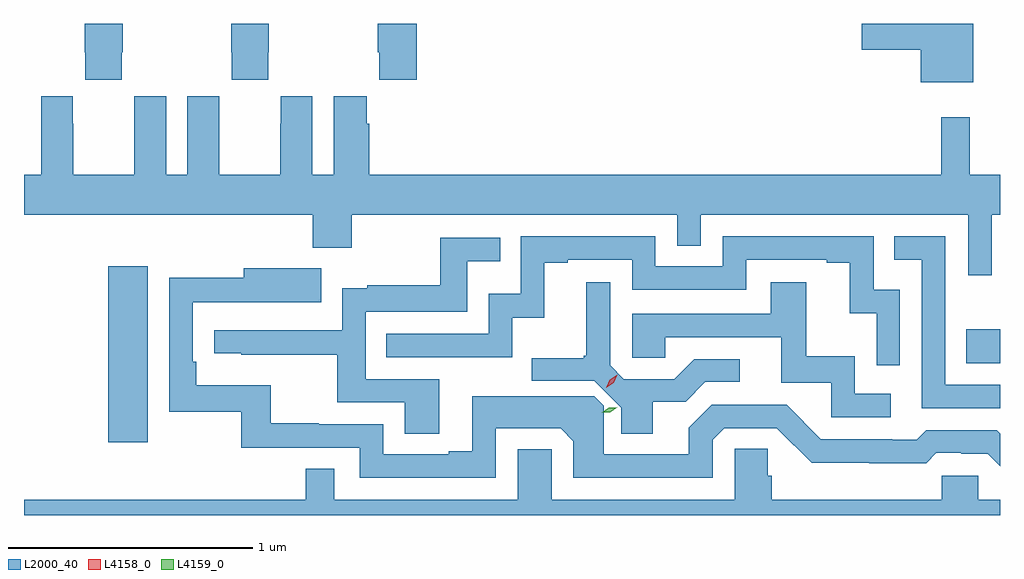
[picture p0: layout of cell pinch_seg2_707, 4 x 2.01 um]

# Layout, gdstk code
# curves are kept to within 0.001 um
import gdstk
lib = gdstk.Library(unit=1e-6, precision=1e-09)
def R(c, l, rs):  # rectangles x0, y0, x1, y1
    for r in rs: c.add(gdstk.rectangle(r[:2], r[2:], *l))
def P(c, l, *ps):  # polygons
    for p in ps: c.add(gdstk.Polygon(p, *l))
L2000_40 = (2000, 40)
L4158_0 = (4158, 0)
L4159_0 = (4159, 0)

pinch_seg2_707 = lib.new_cell('pinch_seg2_707')
R(pinch_seg2_707, L2000_40, [(1126.394,584.1,1126.555,584.821), (1129.909,584.423,1130.048,584.563)])
P(pinch_seg2_707, L2000_40, [(1127.049,585.697),(1127.052,585.697),(1127.052,585.814),(1126.897,585.814),(1126.897,585.697),(1126.899,585.697),(1126.899,585.585),(1127.049,585.585)],
  [(1127.657,585.814),(1127.497,585.814),(1127.497,585.697),(1127.503,585.697),(1127.503,585.585),(1127.657,585.585)],
  [(1126.449,585.697),(1126.452,585.697),(1126.452,585.814),(1126.297,585.814),(1126.297,585.697),(1126.299,585.697),(1126.299,585.585),(1126.449,585.585)],
  [(1129.939,585.814),(1129.482,585.814),(1129.482,585.707),(1129.724,585.707),(1129.724,585.575),(1129.939,585.575)],
  [(1130.015,585.032),(1130.048,585.032),(1130.048,585.196),(1129.925,585.196),(1129.925,585.43),(1129.807,585.43),(1129.807,585.196),(1127.462,585.196),(1127.462,585.404),(1127.452,585.404),(1127.452,585.517),(1127.318,585.517),(1127.318,585.196),(1127.23,585.196),(1127.23,585.517),(1127.1,585.517),(1127.1,585.404),(1127.099,585.404),(1127.099,585.196),(1126.849,585.196),(1126.849,585.404),(1126.848,585.404),(1126.848,585.517),(1126.718,585.517),(1126.718,585.196),(1126.63,585.196),(1126.63,585.517),(1126.5,585.517),(1126.5,585.404),(1126.499,585.404),(1126.499,585.196),(1126.249,585.196),(1126.249,585.404),(1126.248,585.404),(1126.248,585.517),(1126.118,585.517),(1126.118,585.196),(1126.048,585.196),(1126.048,585.032),(1127.231,585.032),(1127.231,584.897),(1127.391,584.897),(1127.391,585.032),(1128.726,585.032),(1128.726,584.905),(1128.822,584.905),(1128.822,585.032),(1129.917,585.032),(1129.917,584.784),(1130.015,584.784)],
  [(1130.048,584.334),(1129.824,584.334),(1129.824,584.943),(1129.615,584.943),(1129.615,584.847),(1129.728,584.847),(1129.728,584.238),(1130.048,584.238)],
  [(1129.638,584.724),(1129.53,584.724),(1129.53,584.943),(1128.912,584.943),(1128.912,584.82),(1128.636,584.82),(1128.636,584.943),(1128.084,584.943),(1128.084,584.707),(1127.952,584.707),(1127.952,584.544),(1127.533,584.544),(1127.533,584.448),(1127.845,584.448),(1127.845,584.447),(1128.048,584.447),(1128.048,584.609),(1128.181,584.609),(1128.181,584.835),(1128.277,584.835),(1128.277,584.847),(1128.54,584.847),(1128.54,584.724),(1129.008,584.724),(1129.008,584.847),(1129.337,584.847),(1129.337,584.835),(1129.433,584.835),(1129.433,584.627),(1129.542,584.627),(1129.542,584.415),(1129.638,584.415)],
  [(1127.749,584.358),(1127.448,584.358),(1127.448,584.634),(1127.865,584.634),(1127.865,584.84),(1127.999,584.84),(1127.999,584.937),(1127.754,584.937),(1127.754,584.743),(1127.455,584.743),(1127.455,584.731),(1127.352,584.731),(1127.352,584.559),(1126.827,584.559),(1126.827,584.463),(1126.939,584.463),(1126.939,584.458),(1127.332,584.458),(1127.332,584.262),(1127.609,584.262),(1127.609,584.134),(1127.749,584.134)],
  [(1127.982,584.156),(1128.247,584.156),(1128.299,584.104),(1128.299,583.953),(1128.87,583.953),(1128.87,584.109),(1128.918,584.157),(1129.134,584.157),(1129.276,584.015),(1129.512,584.015),(1129.512,584.013),(1129.745,584.013),(1129.787,584.055),(1129.89,584.055),(1129.89,584.052),(1129.997,584.052),(1130.048,584.001),(1130.048,584.134),(1130.034,584.148),(1129.745,584.148),(1129.706,584.109),(1129.607,584.109),(1129.607,584.112),(1129.314,584.112),(1129.173,584.253),(1128.867,584.253),(1128.773,584.159),(1128.773,584.049),(1128.424,584.049),(1128.424,584.249),(1128.385,584.288),(1127.885,584.288),(1127.885,584.062),(1127.789,584.062),(1127.789,584.049),(1127.52,584.049),(1127.52,584.172),(1127.255,584.172),(1127.255,584.177),(1127.059,584.177),(1127.059,584.332),(1126.754,584.332),(1126.754,584.428),(1126.74,584.428),(1126.74,584.673),(1127.267,584.672),(1127.267,584.812),(1126.949,584.812),(1126.949,584.774),(1126.644,584.774),(1126.644,584.223),(1126.938,584.223),(1126.938,584.076),(1127.424,584.076),(1127.424,583.953),(1127.982,583.953)],
  [(1128.625,584.266),(1128.76,584.266),(1128.84,584.346),(1128.982,584.346),(1128.982,584.439),(1128.794,584.439),(1128.713,584.358),(1128.507,584.358),(1128.45,584.415),(1128.45,584.755),(1128.353,584.755),(1128.353,584.454),(1128.342,584.454),(1128.342,584.443),(1128.129,584.443),(1128.129,584.351),(1128.385,584.351),(1128.495,584.24),(1128.495,584.134),(1128.625,584.134)],
  [(1129.6,584.298),(1129.452,584.298),(1129.452,584.452),(1129.253,584.452),(1129.253,584.755),(1129.109,584.755),(1129.109,584.625),(1128.54,584.625),(1128.54,584.445),(1128.677,584.445),(1128.677,584.529),(1129.151,584.529),(1129.151,584.343),(1129.356,584.343),(1129.356,584.202),(1129.6,584.202)],
  [(1130.048,583.864),(1129.959,583.864),(1129.959,583.962),(1129.809,583.962),(1129.809,583.864),(1129.112,583.864),(1129.112,583.962),(1129.097,583.962),(1129.097,584.072),(1128.96,584.072),(1128.96,583.864),(1128.21,583.864),(1128.21,584.071),(1128.071,584.071),(1128.071,583.864),(1127.319,583.864),(1127.319,583.991),(1127.203,583.991),(1127.203,583.864),(1126.048,583.864),(1126.048,583.8),(1130.048,583.8)])
P(pinch_seg2_707, L4158_0, [(1128.434,584.322),(1128.434,584.322),(1128.449,584.355),(1128.48,584.375),(1128.48,584.375),(1128.48,584.375),(1128.465,584.342),(1128.434,584.322)])
P(pinch_seg2_707, L4159_0, [(1128.416,584.219),(1128.416,584.219),(1128.416,584.22),(1128.444,584.24),(1128.479,584.243),(1128.479,584.243),(1128.479,584.243),(1128.451,584.222)])

lib.write_gds('pinch_seg2_707.gds')
